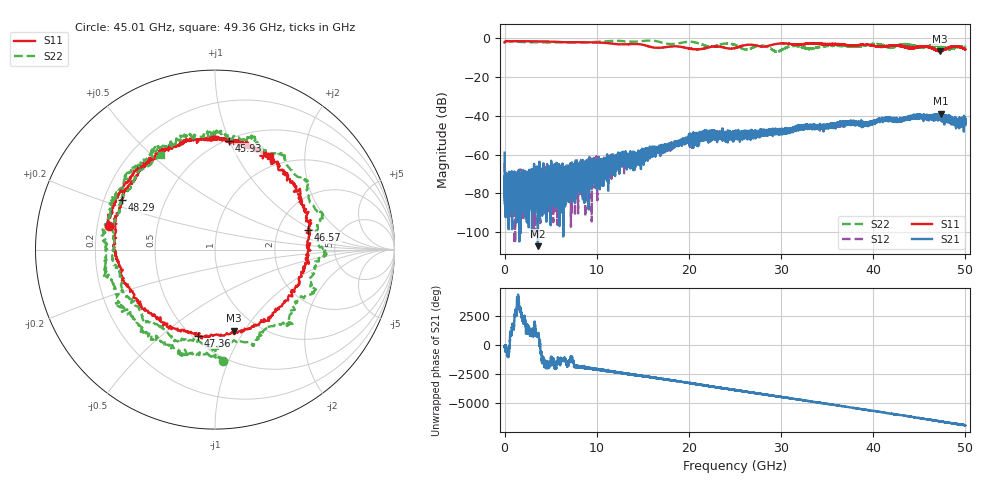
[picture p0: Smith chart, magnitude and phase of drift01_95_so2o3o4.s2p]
!Created with skrf (http://scikit-rf.org).
# Hz S RI R 50.0
!freq ReS11 ImS11 ReS21 ImS21 ReS12 ImS12 ReS22 ImS22
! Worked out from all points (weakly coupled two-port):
!   10001 points, 300 kHz to 50 GHz, reference 50 ohm
!   highest |S21| = -38.87 dB at 47.38 GHz (marker M1); lowest = -107.2 dB at 3.615 GHz (marker M2)
!   lowest |S11| = -6.7 dB at 47.2 GHz (marker M3), VSWR 2.73, Z = 39.1 - j44.9 ohm
!   |S11| at or under -10 dB: nowhere
!   |S22| runs from -6.9 to -1.0 dB; largest |S21 - S12| = 0.004
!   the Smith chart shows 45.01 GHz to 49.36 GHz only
!   S11 on the Smith chart (normalised r, x): 45.01 GHz: 0.25, +0.10; 45.93 GHz: 0.52, +0.99; 46.57 GHz: 2.95, +0.89; 47.36 GHz: 0.54, -0.67; 48.29 GHz: 0.28, +0.23; 49.36 GHz: 0.84, +1.38
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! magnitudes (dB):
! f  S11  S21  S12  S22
! 300 kHz  -2.1  -58.9  -64.4  -1.3
! 255.3 MHz  -1.4  -75.2  -75.5  -1.4
! 340.3 MHz  -1.4  -78.0  -79.5  -1.4
! 3.615 GHz  -1.5  -107.2  -74.8  -2.0
! 6.64 GHz  -1.9  -69.4  -69.7  -1.9
! 8.335 GHz  -1.9  -64.9  -73.3  -2.1
! 16.67 GHz  -4.8  -56.8  -56.0  -1.6
! 21.47 GHz  -5.4  -50.7  -50.1  -3.1
! 25 GHz  -5.0  -49.3  -50.0  -3.4
! 29.53 GHz  -2.8  -48.0  -48.4  -6.7
! 31.29 GHz  -3.1  -47.4  -46.6  -4.0
! 33.34 GHz  -2.6  -45.2  -45.6  -5.5
! 41.67 GHz  -3.9  -41.7  -41.7  -4.5
! 45.01 GHz  -4.4  -41.4  -39.9  -4.1
! 45.93 GHz  -4.3  -40.5  -41.1  -3.9
! 46.57 GHz  -5.5  -40.3  -40.7  -3.9
! 47.2 GHz  -6.7  -41.5  -40.2  -4.4
! 47.36 GHz  -6.2  -40.4  -40.0  -4.7
! 47.38 GHz  -6.2  -38.9  -40.9  -4.9
! 48.29 GHz  -4.6  -40.8  -41.5  -5.1
! 49.36 GHz  -4.4  -42.2  -43.4  -4.3
! 50 GHz  -5.6  -43.2  -41.9  -4.2
